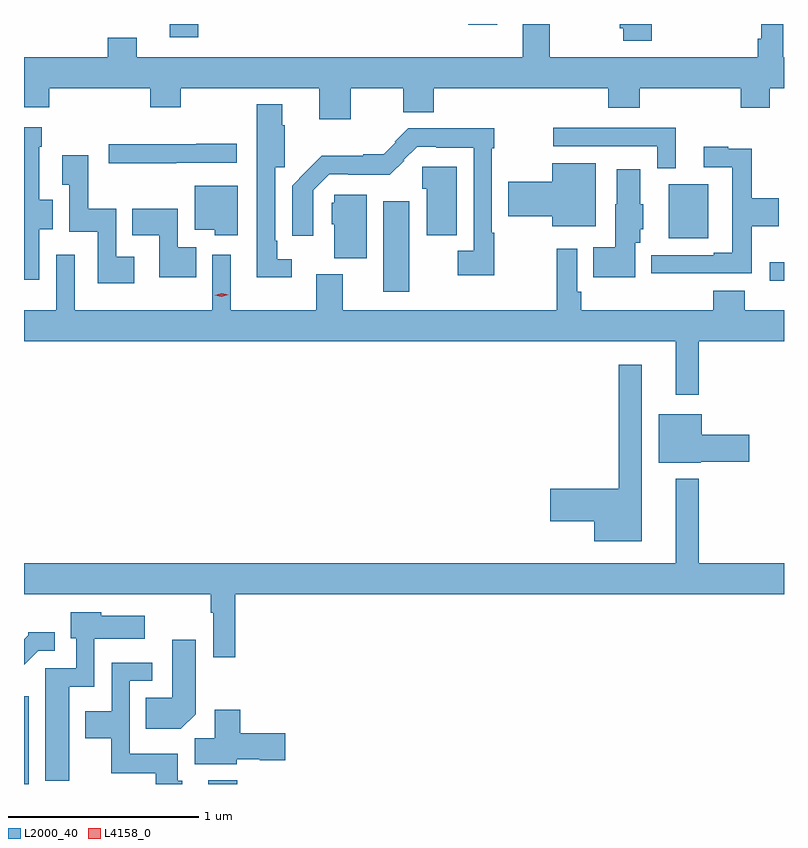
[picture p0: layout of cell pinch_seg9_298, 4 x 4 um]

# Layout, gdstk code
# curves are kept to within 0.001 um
import gdstk
lib = gdstk.Library(unit=1e-6, precision=1e-09)
def R(c, l, rs):  # rectangles x0, y0, x1, y1
    for r in rs: c.add(gdstk.rectangle(r[:2], r[2:], *l))
def P(c, l, *ps):  # polygons
    for p in ps: c.add(gdstk.Polygon(p, *l))
L2000_40 = (2000, 40)
L4158_0 = (4158, 0)

pinch_seg9_298 = lib.new_cell('pinch_seg9_298')
R(pinch_seg9_298, L2000_40, [(514.231,1187.43,514.255,1187.893), (515.201,1187.43,515.354,1187.449), (516.122,1190.022,516.259,1190.497), (518.157,1190.078,518.231,1190.177), (517.625,1190.303,517.831,1190.587), (514.997,1191.36,515.147,1191.43), (516.569,1191.426,516.721,1191.43)])
P(pinch_seg9_298, L2000_40, [(515.95,1191.092),(516.227,1191.092),(516.227,1190.966),(516.388,1190.966),(516.388,1191.092),(517.307,1191.092),(517.307,1190.99),(517.472,1190.99),(517.472,1191.092),(518.003,1191.092),(518.003,1190.99),(518.155,1190.99),(518.155,1191.092),(518.231,1191.092),(518.231,1191.256),(518.228,1191.256),(518.228,1191.43),(518.112,1191.43),(518.112,1191.352),(518.092,1191.352),(518.092,1191.256),(516.997,1191.256),(516.997,1191.43),(516.857,1191.43),(516.857,1191.256),(514.825,1191.256),(514.825,1191.358),(514.673,1191.358),(514.673,1191.256),(514.231,1191.256),(514.231,1190.993),(514.364,1190.993),(514.364,1191.092),(514.895,1191.092),(514.895,1190.993),(515.055,1190.993),(515.055,1191.092),(515.786,1191.092),(515.786,1190.928),(515.95,1190.928)],
  [(517.536,1191.43),(517.367,1191.43),(517.367,1191.408),(517.384,1191.408),(517.384,1191.342),(517.536,1191.342)],
  [(515.641,1190.193),(515.565,1190.193),(515.565,1190.29),(515.553,1190.29),(515.553,1190.676),(515.603,1190.676),(515.603,1190.897),(515.59,1190.897),(515.59,1191.007),(515.457,1191.007),(515.457,1190.096),(515.641,1190.096)],
  [(514.311,1190.35),(514.381,1190.35),(514.381,1190.505),(514.311,1190.505),(514.311,1190.783),(514.324,1190.783),(514.324,1190.886),(514.231,1190.886),(514.231,1190.084),(514.311,1190.084)],
  [(517.66,1190.883),(517.017,1190.883),(517.017,1190.787),(517.563,1190.787),(517.563,1190.672),(517.66,1190.672)],
  [(516.706,1190.332),(516.693,1190.332),(516.693,1190.777),(516.706,1190.777),(516.706,1190.881),(516.253,1190.881),(516.183,1190.811),(516.187,1190.807),(516.125,1190.745),(516.017,1190.745),(516.017,1190.737),(515.797,1190.737),(515.642,1190.58),(515.642,1190.316),(515.754,1190.316),(515.754,1190.556),(515.838,1190.64),(515.938,1190.64),(515.938,1190.636),(516.157,1190.636),(516.231,1190.709),(516.228,1190.712),(516.3,1190.784),(516.4,1190.784),(516.4,1190.78),(516.597,1190.78),(516.597,1190.236),(516.514,1190.236),(516.514,1190.108),(516.706,1190.108)],
  [(515.033,1190.7),(515.35,1190.7),(515.35,1190.801),(515.137,1190.801),(515.137,1190.798),(514.677,1190.798),(514.677,1190.698),(515.033,1190.698)],
  [(517.775,1190.118),(518.06,1190.118),(518.06,1190.366),(518.203,1190.366),(518.203,1190.514),(518.06,1190.514),(518.06,1190.774),(517.937,1190.774),(517.937,1190.785),(517.809,1190.785),(517.809,1190.676),(517.959,1190.676),(517.959,1190.227),(517.862,1190.227),(517.862,1190.214),(517.533,1190.214),(517.533,1190.117),(517.775,1190.117)],
  [(514.81,1190.206),(514.716,1190.206),(514.716,1190.458),(514.569,1190.458),(514.569,1190.74),(514.433,1190.74),(514.433,1190.584),(514.47,1190.584),(514.47,1190.336),(514.62,1190.336),(514.62,1190.066),(514.81,1190.066)],
  [(517.24,1190.698),(517.01,1190.698),(517.01,1190.6),(516.78,1190.6),(516.78,1190.417),(517.01,1190.417),(517.01,1190.366),(517.24,1190.366)],
  [(516.508,1190.679),(516.327,1190.679),(516.327,1190.562),(516.35,1190.562),(516.35,1190.317),(516.508,1190.317)],
  [(517.447,1190.28),(517.474,1190.28),(517.474,1190.349),(517.489,1190.349),(517.489,1190.481),(517.474,1190.481),(517.474,1190.665),(517.352,1190.665),(517.352,1190.481),(517.343,1190.481),(517.343,1190.254),(517.228,1190.254),(517.228,1190.096),(517.447,1190.096)],
  [(515.356,1190.578),(515.129,1190.578),(515.129,1190.348),(515.234,1190.348),(515.234,1190.318),(515.356,1190.318)],
  [(516.034,1190.532),(515.865,1190.532),(515.865,1190.49),(515.852,1190.49),(515.852,1190.376),(515.864,1190.376),(515.864,1190.198),(516.034,1190.198)],
  [(515.138,1190.254),(515.04,1190.254),(515.04,1190.458),(514.801,1190.458),(514.801,1190.318),(514.943,1190.318),(514.943,1190.096),(515.138,1190.096)],
  [(517.783,1189.76),(518.231,1189.76),(518.231,1189.924),(518.024,1189.924),(518.024,1190.026),(517.859,1190.026),(517.859,1189.924),(517.163,1189.924),(517.163,1190.02),(517.143,1190.02),(517.143,1190.248),(517.035,1190.248),(517.035,1189.924),(515.908,1189.924),(515.908,1190.113),(515.768,1190.113),(515.768,1189.924),(515.32,1189.924),(515.32,1190.215),(515.223,1190.215),(515.223,1189.924),(514.497,1189.924),(514.497,1190.215),(514.401,1190.215),(514.401,1189.924),(514.231,1189.924),(514.231,1189.76),(517.661,1189.76),(517.661,1189.479),(517.783,1189.479)],
  [(517.483,1189.636),(517.362,1189.636),(517.362,1188.983),(517.002,1188.983),(517.002,1188.812),(517.232,1188.812),(517.232,1188.707),(517.483,1188.707)],
  [(517.794,1189.127),(518.047,1189.127),(518.047,1189.269),(517.798,1189.269),(517.798,1189.375),(517.571,1189.375),(517.571,1189.121),(517.794,1189.121)],
  [(515.342,1188.428),(518.231,1188.428),(518.231,1188.592),(517.783,1188.592),(517.783,1189.036),(517.661,1189.036),(517.661,1188.592),(514.231,1188.592),(514.231,1188.428),(515.214,1188.428),(515.214,1188.332),(515.226,1188.332),(515.226,1188.096),(515.342,1188.096)],
  [(514.468,1187.942),(514.602,1187.942),(514.602,1188.194),(514.867,1188.194),(514.867,1188.316),(514.638,1188.316),(514.638,1188.334),(514.478,1188.334),(514.478,1188.198),(514.506,1188.198),(514.506,1188.039),(514.343,1188.039),(514.343,1187.448),(514.468,1187.448)],
  [(514.305,1188.132),(514.393,1188.132),(514.393,1188.229),(514.254,1188.229),(514.254,1188.214),(514.231,1188.191),(514.231,1188.058)],
  [(515.134,1187.798),(515.134,1188.19),(515.012,1188.19),(515.012,1187.884),(514.873,1187.884),(514.873,1187.72),(515.056,1187.72)],
  [(515.065,1187.448),(515.041,1187.448),(515.041,1187.59),(514.788,1187.59),(514.788,1187.973),(514.906,1187.973),(514.906,1188.069),(514.692,1188.069),(514.692,1187.812),(514.553,1187.812),(514.553,1187.672),(514.69,1187.672),(514.69,1187.486),(514.925,1187.486),(514.925,1187.43),(515.065,1187.43)],
  [(515.352,1187.561),(515.472,1187.561),(515.472,1187.554),(515.605,1187.554),(515.605,1187.696),(515.369,1187.696),(515.369,1187.821),(515.234,1187.821),(515.234,1187.672),(515.129,1187.672),(515.129,1187.534),(515.352,1187.534)])
P(pinch_seg9_298, L4158_0, [(515.272,1189.994),(515.236,1190.003),(515.235,1190.003),(515.236,1190.003),(515.271,1190.014),(515.307,1190.005),(515.307,1190.005),(515.307,1190.004)])

lib.write_gds('pinch_seg9_298.gds')
